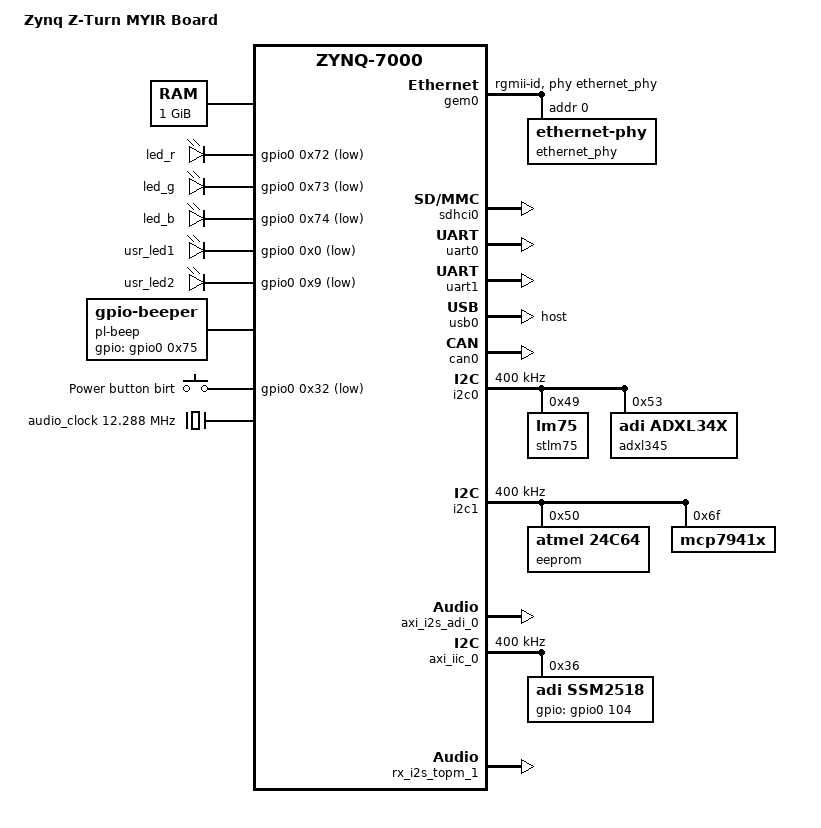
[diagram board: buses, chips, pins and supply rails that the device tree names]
/*
 *  Copyright (C) 2015 Andrea Merello <adnrea.merello@gmail.com>
 *
 *  Based on zynq-zed.dts which is:
 *  Copyright (C) 2011 - 2014 Xilinx
 *  Copyright (C) 2012 National Instruments Corp.
 *
 * This software is licensed under the terms of the GNU General Public
 * License version 2, as published by the Free Software Foundation, and
 * may be copied, distributed, and modified under those terms.
 *
 * This program is distributed in the hope that it will be useful,
 * but WITHOUT ANY WARRANTY; without even the implied warranty of
 * MERCHANTABILITY or FITNESS FOR A PARTICULAR PURPOSE.  See the
 * GNU General Public License for more details.
 */
/dts-v1/;
/include/ "zynq-7000.dtsi"

/ {
	model = "Zynq Z-Turn MYIR Board";
	compatible = "xlnx,zynq-7000";

	aliases {
		ethernet0 = &gem0;
		serial0 = &uart1;
		serial1 = &uart0;
	};

	memory {
		device_type = "memory";
		reg = <0x0 0x40000000>;
	};

	chosen {
		bootargs = "console=ttyPS0,115200 earlyprintk root=/dev/mmcblk0p2 rootwait";
	};

	gpio-leds {
		compatible = "gpio-leds";
		led_r {
			label = "led_r";
			gpios = <&gpio0 0x72 0x1>;
			default-state = "on";
			linux,default-trigger = "heartbeat";
		};

		led_g {
			label = "led_g";
			gpios = <&gpio0 0x73 0x1>;
			default-state = "on";
			linux,default-trigger = "heartbeat";
		};

		led_b {
			label = "led_b";
			gpios = <&gpio0 0x74 0x1>;
			default-state = "on";
			linux,default-trigger = "heartbeat";
		};

		usr_led1 {
			label = "usr_led1";
			gpios = <&gpio0 0x0 0x1>;
			default-state = "off";
			linux,default-trigger = "none";
		};

		usr_led2 {
			label = "usr_led2";
			gpios = <&gpio0 0x9 0x1>;
			default-state = "off";
			linux,default-trigger = "none";
		};
	};

	gpio-beep {
		compatible = "gpio-beeper";
		label = "pl-beep";
		gpios = <&gpio0 0x75 0x0>;
	};

	gpio-keys {
		compatible = "gpio-keys";
		#address-cells = <0x1>;
		#size-cells = <0x0>;
		autorepeat;

		button_power_at_0 {
			label = "Power button birt";
			/* EMI050, active low */
			gpios = <&gpio0 0x32 0x1>;
			linux,code = <0x74>;
			gpio-key,wakeup;
			autorepeat;
			/* uncomment the following line to
			 * make the button react only to a
			 * protracted pressure
			 */
			/* debounce-interval = <3000>; */
		};
	};
};

&clkc {
	ps-clk-frequency = <33333333>;
	fclk-enable = <0xf>;
};

&gem0 {
	status = "okay";
	phy-mode = "rgmii-id";
	phy-handle = <&ethernet_phy>;

	ethernet_phy: ethernet-phy@0 {
		reg = <0x0>;
	};
};

&sdhci0 {
	status = "okay";
};

&uart0 {
	status = "okay";
};

&uart1 {
	status = "okay";
};

&usb0 {
	status = "okay";
	dr_mode = "host";
};

&can0 {
	status = "okay";
};

&i2c0 {
	status = "okay";
	clock-frequency = <400000>;

	stlm75@49 {
		status = "okay";
		compatible = "lm75";
		reg = <0x49>;
	};

	adxl345@53 {
		compatible = "adi,adxl34x", "adxl34x";
		reg = <0x53>;
		interrupt-parent = <&intc>;
		interrupts = <0x0 0x1e 0x4>;
	};
};

&i2c1 {
	status = "okay";
	clock-frequency = <400000>;

	eeprom: eeprom@50 {
		compatible = "atmel,24c64";
		reg = <0x50>;
		pagesize = <64>;
	};  
	
	// IC84M - RTC device (MCP79410)
	mcp7941x: mcp7941x@6f {
		compatible = "mcp7941x";
		reg = <0x6f>;
	};
};

&amba {
	auxdisp_0: auxdisp@43c20000 {
		compatible = "iit,auxdisp-2.0";
		interrupt-parent = <&intc>;
		interrupts = <0 31 4>;
		reg = <0x43c20000 0x10000>;
		/* 103 = 54(offset default for gpio) + 49 */
        enable = <&gpio0 103 0>;
		/* 103 = 54(offset default for gpio) + 48 */
		vl = <&gpio0 102 0>;
		dmas = <&axi_dma_0 0>;
		dma-names = "tx";
	};
	
	audio_clock: audio_clock {
		compatible = "fixed-clock";
		#clock-cells = <0>;
		clock-frequency = <12288000>;
	};

	axi_dma_0: dma@40400000 {
		compatible = "xlnx,axi-dma-1.00.a";
		clock-names = "s_axi_lite_aclk", "m_axi_sg_aclk", "m_axi_mm2s_aclk";
		clocks = <&clkc 15>, <&clkc 15>, <&clkc 15>;
		interrupt-parent = <&intc>;
		interrupts = <0 29 4>;
		#dma-cells = <1>;
		reg = <0x40400000 0x10000>;
		xlnx,addrwidth = <0x20>;
		xlnx,lengthregwidth = < 13 >;
		xlnx,include-sg ;
		dma-channel@40400000 {
			compatible = "xlnx,axi-dma-mm2s-channel";
			dma-channels = <0x1>;
			interrupts = <0 29 4>;
			xlnx,datawidth = <0x20>;
			xlnx,device-id = <0x0>;
			};
	};
	axi_i2s_adi_0: axi_i2s_adi@43c30000 {
		compatible = "adi,axi-i2s-1.00.a";
		reg = <0x43c30000 0x10000>;
		xlnx,bclk-pol = <0x0>;
		xlnx,dma-type = <0x1>;
		xlnx,has-rx = <0x1>;
		xlnx,has-tx = <0x1>;
		xlnx,lrclk-pol = <0x0>;
		xlnx,num-ch = <0x1>;
		xlnx,slot-width = <0x18>;
		dmas = <&dmac_s 0 &dmac_s 1>;
		dma-names = "tx", "rx";
		clocks = <&clkc 15>, <&audio_clock>, <&audio_clock>;
		clock-names = "axi", "ref", "i2s";
	};
	axi_iic_0: i2c@41600000 {
		#address-cells = <1>;
		#size-cells = <0>;
		clock-frequency = <400000>;
		clock-names = "ref_clk";
		compatible = "xlnx,xps-iic-2.00.a";
		interrupt-parent = <&intc>;
		interrupts = <0 36 4>;
		reg = <0x41600000 0x10000>;
		clocks = <&clkc 15>;
		ssm2518: ssm2518@36 {
			compatible = "adi,ssm2518";
			reg = <0x36>;
			/*
			 * nSD Active Low shutdown
			 * 54+50 means GPIO50,
			 */
			gpios = <&gpio0 104 0>;
		};
	};
	cer_sound {
		compatible = "digilent,ssm2518-sound";
		audio-codec = <&ssm2518>;
		cpu-dai = <&axi_i2s_adi_0>;
	};
	gcpr_0: gcpr@43c10000 {
		compatible = "xlnx,gcpr-1.0";
		reg = <0x43c10000 0x10000>;
		xlnx,num-regs = <0x2>;
		xlnx,permission-regs = <0x1>;
	};
	rx_i2s_topm_1: rx_i2s_topm@43c00000 {
		compatible = "iit,micif-1.0";
		interrupt-parent = <&intc>;
		interrupts = <0 33 4>;
		reg = <0x43c00000 0x10000>;
		enable_mic = <&gpio0 109 0>;
		xlnx,debug = <0x1>;
		xlnx,nummics = <9>;
	};
};
